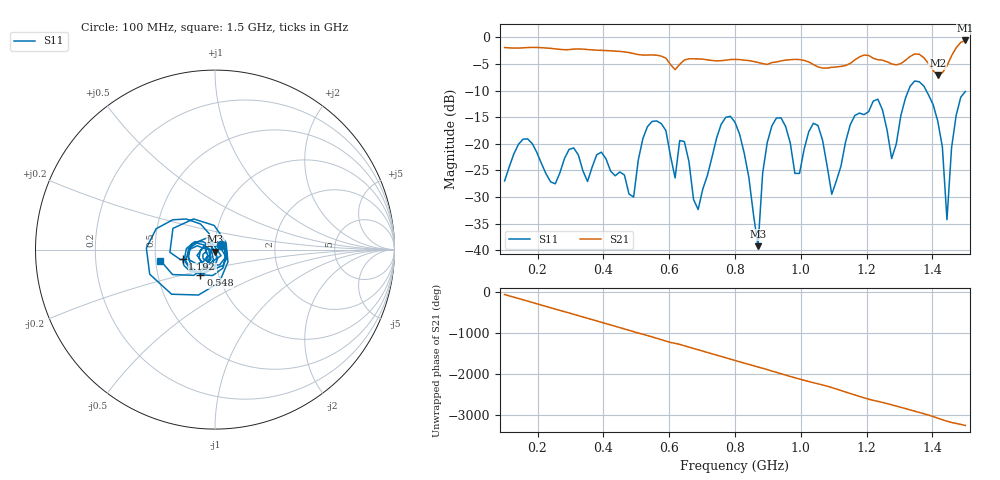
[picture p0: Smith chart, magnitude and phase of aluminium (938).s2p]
! NanoVNA-App
! Date: 2025-09-25 15:02:35
! Start: 100MHz Stop: 1,5GHz Points: 101
! S-Parameter data: F S11 S21 S12 S22
# Hz S RI R 50
!  Frequency  S11_Real  S11_Imag  S21_Real  S21_Imag  S12_Real  S12_Imag  S22_Real  S22_Imag
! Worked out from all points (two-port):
!   101 points, 100 MHz to 1.5 GHz, reference 50 ohm
!   highest |S21| = -0.59 dB at 1.5 GHz (marker M1); lowest = -7.1 dB at 1.416 GHz (marker M2)
!   |S21| within 3 dB of the highest: start of sweep to 578.2 MHz; 1.457 GHz to end of sweep (the widest 2 of 4)
!   lowest |S11| = -39.2 dB at 870 MHz (marker M3), VSWR 1.02, Z = 50.2 - j1.08 ohm
!   |S11| at or under -10 dB: start of sweep to 1.327 GHz; 1.381 GHz to end of sweep
!   S12 and S22 are empty: the file has one direction only
!   S11 on the Smith chart (normalised r, x): 100 MHz: 1.07, +0.06; 548 MHz: 0.82, -0.24; 1.192 GHz: 0.69, -0.08; 1.5 GHz: 0.53, -0.07
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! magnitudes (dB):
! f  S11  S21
! 100 MHz  -27.0  -1.9
! 156 MHz  -19.1  -2.0
! 338 MHz  -25.1  -2.2
! 492 MHz  -30.0  -3.1
! 548 MHz  -15.8  -3.3
! 576 MHz  -16.2  -3.5
! 646 MHz  -19.6  -4.3
! 688 MHz  -32.3  -4.1
! 800 MHz  -16.0  -4.2
! 870 MHz  -39.2  -4.7
! 912 MHz  -16.6  -4.7
! 996 MHz  -25.5  -4.2
! 1.038 GHz  -16.1  -5.1
! 1.094 GHz  -29.5  -5.6
! 1.192 GHz  -14.5  -3.3
! 1.234 GHz  -11.6  -4.2
! 1.276 GHz  -22.8  -5.0
! 1.346 GHz  -8.2  -3.1
! 1.416 GHz  -15.7  -7.1
! 1.444 GHz  -34.2  -5.4
! 1.472 GHz  -14.6  -2.0
! 1.5 GHz  -10.2  -0.6
